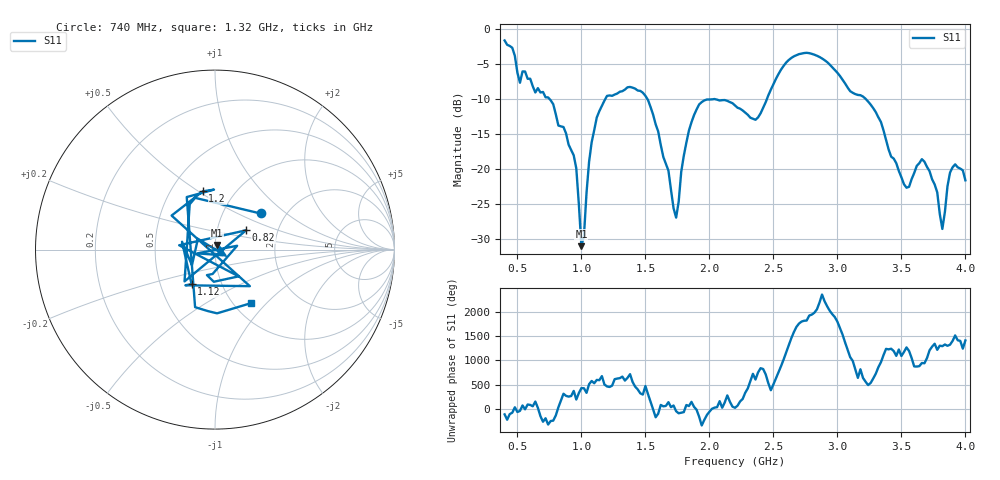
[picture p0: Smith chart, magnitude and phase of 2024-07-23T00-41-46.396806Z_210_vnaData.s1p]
!Created with skrf (http://scikit-rf.org).
# Hz S RI R 50.0
!freq ReS11 ImS11
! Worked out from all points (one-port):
!   181 points, 400 MHz to 4 GHz, reference 50 ohm
!   lowest |S11| = -31.0 dB at 1 GHz (marker M1), VSWR 1.06, Z = 51 + j2.65 ohm
!   |S11| at or under -10 dB: 749.8 MHz to 1.187 GHz (437.6 MHz wide, 45.2 % of centre); 1.515 GHz to 2.45 GHz (935.1 MHz wide, 47.2 % of centre); 3.22 GHz to end of sweep
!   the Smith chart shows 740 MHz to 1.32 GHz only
!   S11 on the Smith chart (normalised r, x): 740 MHz: 1.50, +0.67; 820 MHz: 1.38, +0.31; 1.12 GHz: 0.72, -0.29; 1.2 GHz: 0.71, +0.52; 1.32 GHz: 1.19, -0.82
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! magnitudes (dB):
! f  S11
! 400 MHz  -1.7
! 520 MHz  -7.7
! 740 MHz  -9.8
! 820 MHz  -13.8
! 860 MHz  -14.0
! 960 MHz  -19.9
! 1 GHz  -31.0
! 1.02 GHz  -29.5
! 1.06 GHz  -19.0
! 1.12 GHz  -12.7
! 1.2 GHz  -9.6
! 1.3 GHz  -9.0
! 1.32 GHz  -8.9
! 1.52 GHz  -10.2
! 1.74 GHz  -26.9
! 1.76 GHz  -24.7
! 1.82 GHz  -16.2
! 1.92 GHz  -10.8
! 2.2 GHz  -10.9
! 2.36 GHz  -13.0
! 2.66 GHz  -3.9
! 3.1 GHz  -8.9
! 3.3 GHz  -11.9
! 3.56 GHz  -22.5
! 3.68 GHz  -19.0
! 3.82 GHz  -28.5
! 3.88 GHz  -20.5
! 4 GHz  -21.6
